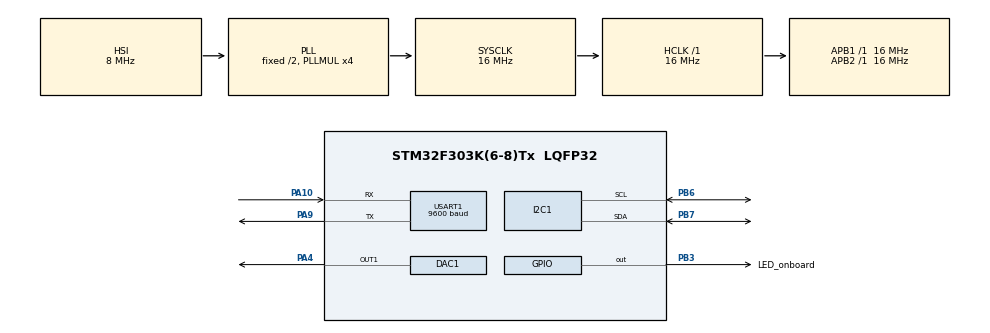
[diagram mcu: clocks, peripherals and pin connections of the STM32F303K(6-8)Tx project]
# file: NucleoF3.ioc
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DAC1.DAC_Trigger=DAC_TRIGGER_T2_TRGO
Dma.DAC1_CH1.0.Direction=DMA_MEMORY_TO_PERIPH
Dma.DAC1_CH1.0.Instance=DMA1_Channel3
Dma.DAC1_CH1.0.MemDataAlignment=DMA_MDATAALIGN_WORD
Dma.DAC1_CH1.0.MemInc=DMA_MINC_ENABLE
Dma.DAC1_CH1.0.Mode=DMA_CIRCULAR
Dma.DAC1_CH1.0.PeriphDataAlignment=DMA_PDATAALIGN_HALFWORD
Dma.DAC1_CH1.0.PeriphInc=DMA_PINC_DISABLE
Dma.DAC1_CH1.0.Priority=DMA_PRIORITY_HIGH
Dma.Request0=DAC1_CH1
Dma.Request1=USART1_RX
Dma.USART1_RX.1.Direction=DMA_PERIPH_TO_MEMORY
Dma.USART1_RX.1.Instance=DMA1_Channel5
Dma.USART1_RX.1.MemDataAlignment=DMA_MDATAALIGN_BYTE
Dma.USART1_RX.1.MemInc=DMA_MINC_ENABLE
Dma.USART1_RX.1.Mode=DMA_NORMAL
Dma.USART1_RX.1.PeriphDataAlignment=DMA_PDATAALIGN_BYTE
Dma.USART1_RX.1.PeriphInc=DMA_PINC_DISABLE
Dma.USART1_RX.1.Priority=DMA_PRIORITY_LOW
Mcu.Family=STM32F3
Mcu.Name=STM32F303K(6-8)Tx
Mcu.Package=LQFP32
NVIC.DMA1_Channel3_IRQn=true\:0\:0\:false\:false\:true\:false\:true
NVIC.DMA1_Channel5_IRQn=true\:0\:0\:false\:false\:true\:false\:true
NVIC.PriorityGroup=NVIC_PRIORITYGROUP_4
NVIC.RCC_IRQn=true\:0\:0\:false\:false\:true\:true\:false
NVIC.TIM2_IRQn=true\:0\:0\:false\:false\:true\:true\:true
NVIC.USART1_IRQn=true\:0\:0\:false\:false\:true\:true\:true
PA0.Signal=TSC_G1_IO1
PA1.Signal=TSC_G1_IO2
PA10.Mode=Asynchronous
PA10.Signal=USART1_RX
PA4.Signal=COMP_DAC11_group
PA9.Mode=Asynchronous
PA9.Signal=USART1_TX
PB3.GPIO_Label=LED_onboard
PB3.Signal=GPIO_Output
PB6.Mode=I2C
PB6.Signal=I2C1_SCL
PB7.Mode=I2C
PB7.Signal=I2C1_SDA
ProjectManager.HeapSize=0x200
ProjectManager.StackSize=0x400
ProjectManager.TargetToolchain=STM32CubeIDE
RCC.AHBFreq_Value=16000000
RCC.APB1Freq_Value=16000000
RCC.APB1TimFreq_Value=16000000
RCC.APB2Freq_Value=16000000
RCC.APB2TimFreq_Value=16000000
RCC.CortexFreq_Value=16000000
RCC.HCLKFreq_Value=16000000
RCC.HSE_VALUE=8000000
RCC.HSI_VALUE=8000000
RCC.PLLMUL=RCC_PLL_MUL4
RCC.SYSCLKFreq_VALUE=16000000
RCC.SYSCLKSourceVirtual=RCC_SYSCLKSOURCE_PLLCLK
SH.COMP_DAC11_group.0=DAC1_OUT1,DAC_OUT1
TIM2.AutoReloadPreload=TIM_AUTORELOAD_PRELOAD_DISABLE
TIM2.Period=400
TIM2.Prescaler=1
TIM2.TIM_MasterOutputTrigger=TIM_TRGO_UPDATE
USART1.BaudRate=9600
USART1.VirtualMode-Asynchronous=VM_ASYNC
VP_TIM2_VS_ClockSourceINT.Mode=Internal
board=custom

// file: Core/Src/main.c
/* USER CODE BEGIN Header */
/**
  ******************************************************************************
  * @file           : main.c
  * @brief          : Main program body
  ******************************************************************************
  * @attention
  *
  * <h2><center>&copy; Copyright (c) 2020 STMicroelectronics.
  * All rights reserved.</center></h2>
  *
  * This software component is licensed by ST under BSD 3-Clause license,
  * the "License"; You may not use this file except in compliance with the
  * License. You may obtain a copy of the License at:
  *                        opensource.org/licenses/BSD-3-Clause
  *
  ******************************************************************************
  */
/* USER CODE END Header */
#include "main.h"

/* USER CODE BEGIN Includes */
#include <stdlib.h>
#include <math.h>
#include <string.h>

#include "nco.h"
#include "midi.h"
#include "adsr.h"
#include "circ_buffer.h"
/* USER CODE END Includes */

/* USER CODE BEGIN PM */
#define PI       3.14159f
/* USER CODE END PM */

DAC_HandleTypeDef hdac1;
DMA_HandleTypeDef hdma_dac1_ch1;

I2C_HandleTypeDef hi2c1;

TIM_HandleTypeDef htim2;

UART_HandleTypeDef huart1;
DMA_HandleTypeDef hdma_usart1_rx;

/* USER CODE BEGIN PV */
volatile int time = 0;

char str_num[10]; // Buffer for storing numbers to show on lcd
/* USER CODE END PV */

void SystemClock_Config(void);
static void MX_GPIO_Init(void);
static void MX_I2C1_Init(void);
static void MX_DAC1_Init(void);
static void MX_TIM2_Init(void);
static void MX_DMA_Init(void);
static void MX_USART1_UART_Init(void);
/* USER CODE BEGIN PFP */
void lcd_loop_write();
void TIM6_IRQHandler(void);
void handle_midi(MIDI_Packet *packet);

/* USER CODE END PFP */

/* USER CODE BEGIN 0 */
I2C_LCD lcd = {.address = (0x27 << 1),
			   .columns = 16,
			   .lines   = 2,
			   .mode    = LCD_MODE_4BIT,
			   .i2c_bus = &hi2c1};

NCO         oscillator  = {0};
ADSR        adsr        = {0};
MIDI_Packet midi_packet = {0};

volatile uint32_t sig = 0; // For storing oscillator signal
uint8_t uart_rx_data[MIDI_PACKET_SIZE]; // Received UART data

int sequence[8] = {69, 71, 72, 74, 76, 77, 79};

/* Midi serial data packet receive callback */
void HAL_UART_RxCpltCallback(UART_HandleTypeDef *huart)
{
	midi_packet = midi_parse(uart_rx_data);
	handle_midi(&midi_packet);
	HAL_UART_Receive_IT(&huart1, uart_rx_data, MIDI_PACKET_SIZE);
}

/* Control oscillator and envelope from received midi data */
void handle_midi(MIDI_Packet *packet)
{
	if(packet)
	{
		NCO_set_freq(&oscillator, (int)midi_to_freq(packet->note));

		if(packet->control == MIDI_NOTE_ON)
		{
			ADSR_note_on(&adsr);
		}
		if(packet->control == MIDI_NOTE_OFF)
		{
			ADSR_note_off(&adsr);
		}
	}
}

/* USER CODE END 0 */

int main(void)
{

  /* MCU Configuration--------------------------------------------------------*/

  /* Reset of all peripherals, Initializes the Flash interface and the Systick. */
  HAL_Init();

  /* Configure the system clock */
  SystemClock_Config();

  /* Initialize all configured peripherals */
  MX_GPIO_Init();
  MX_I2C1_Init();
  MX_DAC1_Init();
  MX_TIM2_Init();
  MX_DMA_Init();
  MX_USART1_UART_Init();
  /* USER CODE BEGIN 2 */
//  LCD_Init(&lcd);
//  LCD_SetCursor(&lcd, 0, 0);
//  LCD_DisableCursor(&lcd);
//  LCD_SendString(&lcd, "Sine Freq");

  HAL_DAC_Start(&hdac1, DAC_CHANNEL_1);

  /* MIDI input UART receive */
  HAL_UART_Receive_IT(&huart1, uart_rx_data, MIDI_PACKET_SIZE);

  /* Init oscilllator stuff */
  NCO_init(&oscillator, 40000, WF_SINE);
  NCO_set_freq(&oscillator, (int)midi_to_freq(69));

  ADSR_init(&adsr, 20000, 20000, 0.8, 10000);

  /* USER CODE END 2 */

  /* Infinite loop */
  /* USER CODE BEGIN WHILE */
  while (1)
  {

//		itoa(sin_index, str_num, 10);
//		itoa(TIM2->CNT, str_num, 10);

//	  	itoa(count, str_num, 10);
//
//
//		char *disp = malloc(strlen(count_label) + strlen(str_num) + 1);
//		strcpy(disp, count_label);
//		strcat(disp, str_num);
//
//		LCD_SetCursor(&lcd, 0, 0);
//		LCD_SendString(&lcd, disp);
//
//		free(disp);
//		HAL_Delay(500);
//
//		count++;
//		if(count == 10)
//		{
//			count = 0;
//		}

//	  time++;
//	  HAL_GPIO_TogglePin(GPIOB, LED_onboard_Pin);
//		time++;
//		if(time == 1)
//		{

    /* USER CODE END WHILE */

  }
}

void SystemClock_Config(void)
{
  RCC_OscInitTypeDef RCC_OscInitStruct = {0};
  RCC_ClkInitTypeDef RCC_ClkInitStruct = {0};
  RCC_PeriphCLKInitTypeDef PeriphClkInit = {0};

  /** Initializes the RCC Oscillators according to the specified parameters
  * in the RCC_OscInitTypeDef structure.
  */
  RCC_OscInitStruct.OscillatorType = RCC_OSCILLATORTYPE_HSI;
  RCC_OscInitStruct.HSIState = RCC_HSI_ON;
  RCC_OscInitStruct.HSICalibrationValue = RCC_HSICALIBRATION_DEFAULT;
  RCC_OscInitStruct.PLL.PLLState = RCC_PLL_ON;
  RCC_OscInitStruct.PLL.PLLSource = RCC_PLLSOURCE_HSI;
  RCC_OscInitStruct.PLL.PLLMUL = RCC_PLL_MUL4;
  if (HAL_RCC_OscConfig(&RCC_OscInitStruct) != HAL_OK)
  {
    Error_Handler();
  }
  /** Initializes the CPU, AHB and APB buses clocks
  */
  RCC_ClkInitStruct.ClockType = RCC_CLOCKTYPE_HCLK|RCC_CLOCKTYPE_SYSCLK
                              |RCC_CLOCKTYPE_PCLK1|RCC_CLOCKTYPE_PCLK2;
  RCC_ClkInitStruct.SYSCLKSource = RCC_SYSCLKSOURCE_PLLCLK;
  RCC_ClkInitStruct.AHBCLKDivider = RCC_SYSCLK_DIV1;
  RCC_ClkInitStruct.APB1CLKDivider = RCC_HCLK_DIV1;
  RCC_ClkInitStruct.APB2CLKDivider = RCC_HCLK_DIV1;

  if (HAL_RCC_ClockConfig(&RCC_ClkInitStruct, FLASH_LATENCY_0) != HAL_OK)
  {
    Error_Handler();
  }
  PeriphClkInit.PeriphClockSelection = RCC_PERIPHCLK_USART1|RCC_PERIPHCLK_I2C1;
  PeriphClkInit.Usart1ClockSelection = RCC_USART1CLKSOURCE_PCLK1;
  PeriphClkInit.I2c1ClockSelection = RCC_I2C1CLKSOURCE_HSI;
  if (HAL_RCCEx_PeriphCLKConfig(&PeriphClkInit) != HAL_OK)
  {
    Error_Handler();
  }
}

static void MX_DAC1_Init(void)
{

  DAC_ChannelConfTypeDef sConfig = {0};

  /** DAC Initialization
  */
  hdac1.Instance = DAC1;
  if (HAL_DAC_Init(&hdac1) != HAL_OK)
  {
    Error_Handler();
  }
  /** DAC channel OUT1 config
  */
  sConfig.DAC_Trigger = DAC_TRIGGER_T2_TRGO;
  sConfig.DAC_OutputBuffer = DAC_OUTPUTBUFFER_ENABLE;
  if (HAL_DAC_ConfigChannel(&hdac1, &sConfig, DAC_CHANNEL_1) != HAL_OK)
  {
    Error_Handler();
  }

}

static void MX_I2C1_Init(void)
{

  hi2c1.Instance = I2C1;
  hi2c1.Init.Timing = 0x2000090E;
  hi2c1.Init.OwnAddress1 = 0;
  hi2c1.Init.AddressingMode = I2C_ADDRESSINGMODE_7BIT;
  hi2c1.Init.DualAddressMode = I2C_DUALADDRESS_DISABLE;
  hi2c1.Init.OwnAddress2 = 0;
  hi2c1.Init.OwnAddress2Masks = I2C_OA2_NOMASK;
  hi2c1.Init.GeneralCallMode = I2C_GENERALCALL_DISABLE;
  hi2c1.Init.NoStretchMode = I2C_NOSTRETCH_DISABLE;
  if (HAL_I2C_Init(&hi2c1) != HAL_OK)
  {
    Error_Handler();
  }
  /** Configure Analogue filter
  */
  if (HAL_I2CEx_ConfigAnalogFilter(&hi2c1, I2C_ANALOGFILTER_ENABLE) != HAL_OK)
  {
    Error_Handler();
  }
  /** Configure Digital filter
  */
  if (HAL_I2CEx_ConfigDigitalFilter(&hi2c1, 0) != HAL_OK)
  {
    Error_Handler();
  }

}

static void MX_TIM2_Init(void)
{

  TIM_ClockConfigTypeDef sClockSourceConfig = {0};
  TIM_MasterConfigTypeDef sMasterConfig = {0};

  htim2.Instance = TIM2;
  htim2.Init.Prescaler = 1;
  htim2.Init.CounterMode = TIM_COUNTERMODE_UP;
  htim2.Init.Period = 400;
  htim2.Init.ClockDivision = TIM_CLOCKDIVISION_DIV1;
  htim2.Init.AutoReloadPreload = TIM_AUTORELOAD_PRELOAD_DISABLE;
  if (HAL_TIM_Base_Init(&htim2) != HAL_OK)
  {
    Error_Handler();
  }
  sClockSourceConfig.ClockSource = TIM_CLOCKSOURCE_INTERNAL;
  if (HAL_TIM_ConfigClockSource(&htim2, &sClockSourceConfig) != HAL_OK)
  {
    Error_Handler();
  }
  sMasterConfig.MasterOutputTrigger = TIM_TRGO_UPDATE;
  sMasterConfig.MasterSlaveMode = TIM_MASTERSLAVEMODE_DISABLE;
  if (HAL_TIMEx_MasterConfigSynchronization(&htim2, &sMasterConfig) != HAL_OK)
  {
    Error_Handler();
  }
  /* USER CODE BEGIN TIM2_Init 2 */
  HAL_NVIC_SetPriority(TIM2_IRQn, 0, 0);
  HAL_NVIC_EnableIRQ(TIM2_IRQn);
  HAL_TIM_Base_Start_IT(&htim2);
  HAL_TIM_IRQHandler(&htim2);

  /* USER CODE END TIM2_Init 2 */

}

static void MX_USART1_UART_Init(void)
{

  huart1.Instance = USART1;
  huart1.Init.BaudRate = 9600;
  huart1.Init.WordLength = UART_WORDLENGTH_8B;
  huart1.Init.StopBits = UART_STOPBITS_1;
  huart1.Init.Parity = UART_PARITY_NONE;
  huart1.Init.Mode = UART_MODE_TX_RX;
  huart1.Init.HwFlowCtl = UART_HWCONTROL_NONE;
  huart1.Init.OverSampling = UART_OVERSAMPLING_16;
  huart1.Init.OneBitSampling = UART_ONE_BIT_SAMPLE_DISABLE;
  huart1.AdvancedInit.AdvFeatureInit = UART_ADVFEATURE_NO_INIT;
  if (HAL_UART_Init(&huart1) != HAL_OK)
  {
    Error_Handler();
  }

}

static void MX_DMA_Init(void)
{

  /* DMA controller clock enable */
  __HAL_RCC_DMA1_CLK_ENABLE();

  /* DMA interrupt init */
  /* DMA1_Channel3_IRQn interrupt configuration */
  HAL_NVIC_SetPriority(DMA1_Channel3_IRQn, 0, 0);
  HAL_NVIC_EnableIRQ(DMA1_Channel3_IRQn);
  /* DMA1_Channel5_IRQn interrupt configuration */
  HAL_NVIC_SetPriority(DMA1_Channel5_IRQn, 0, 0);
  HAL_NVIC_EnableIRQ(DMA1_Channel5_IRQn);

}

static void MX_GPIO_Init(void)
{
  GPIO_InitTypeDef GPIO_InitStruct = {0};

  /* GPIO Ports Clock Enable */
  __HAL_RCC_GPIOA_CLK_ENABLE();
  __HAL_RCC_GPIOB_CLK_ENABLE();

  /*Configure GPIO pin Output Level */
  HAL_GPIO_WritePin(LED_onboard_GPIO_Port, LED_onboard_Pin, GPIO_PIN_RESET);

  /*Configure GPIO pins : PA0 PA1 */
  GPIO_InitStruct.Pin = GPIO_PIN_0|GPIO_PIN_1;
  GPIO_InitStruct.Mode = GPIO_MODE_AF_PP;
  GPIO_InitStruct.Pull = GPIO_NOPULL;
  GPIO_InitStruct.Speed = GPIO_SPEED_FREQ_LOW;
  GPIO_InitStruct.Alternate = GPIO_AF3_TSC;
  HAL_GPIO_Init(GPIOA, &GPIO_InitStruct);

  /*Configure GPIO pin : LED_onboard_Pin */
  GPIO_InitStruct.Pin = LED_onboard_Pin;
  GPIO_InitStruct.Mode = GPIO_MODE_OUTPUT_PP;
  GPIO_InitStruct.Pull = GPIO_NOPULL;
  GPIO_InitStruct.Speed = GPIO_SPEED_FREQ_LOW;
  HAL_GPIO_Init(LED_onboard_GPIO_Port, &GPIO_InitStruct);

}

/* USER CODE BEGIN 4 */

void HAL_TIM_PeriodElapsedCallback(TIM_HandleTypeDef *htim)
{
	if	(htim->Instance == TIM2)
	{
		sig = NCO_next_signal(&oscillator);
		sig = sig * ADSR_get_next(&adsr);
		HAL_DAC_SetValue(&hdac1, DAC_CHANNEL_1, DAC_ALIGN_12B_R, (uint32_t)sig>>2);
	}
}

/* USER CODE END 4 */

void Error_Handler(void)
{
}

/************************ (C) COPYRIGHT STMicroelectronics *****END OF FILE****/
